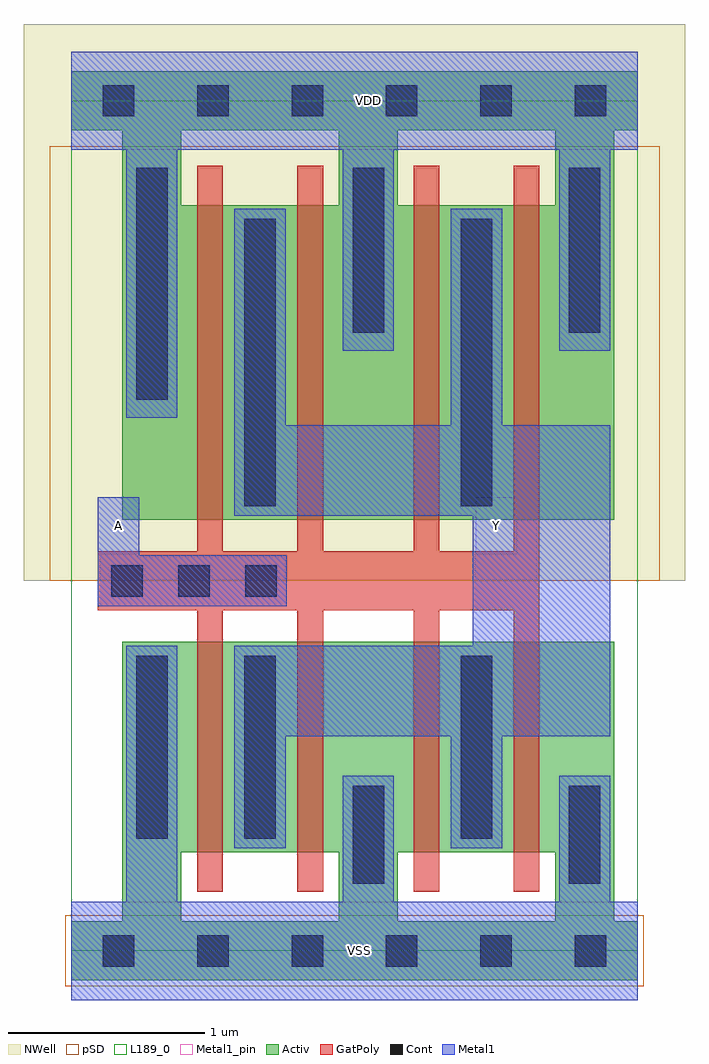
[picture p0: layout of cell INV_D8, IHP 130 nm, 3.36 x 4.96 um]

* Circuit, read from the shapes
.subckt INV_D8 A VDD VSS Y
XM1 Y A VSS VSS sg13_lv_nmos w=1.07u l=0.13u m=4
XM2 Y A VDD VDD sg13_lv_pmos w=1.6u l=0.13u m=4
.ends

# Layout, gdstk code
import gdstk
lib = gdstk.Library(unit=1e-6, precision=1e-09)
def R(c, l, rs):  # rectangles x0, y0, x1, y1
    for r in rs: c.add(gdstk.rectangle(r[:2], r[2:], *l))
def A(c, l, x, y, w, h, nx, ny, dx, dy):  # array of equal rectangles
    R(c, l, [(x+i*dx, y+j*dy, x+i*dx+w, y+j*dy+h) for i in range(nx) for j in range(ny)])
def P(c, l, *ps):  # polygons
    for p in ps: c.add(gdstk.Polygon(p, *l))
Activ = (1, 0)
GatPoly = (5, 0)
Cont = (6, 0)
Metal1 = (8, 0)
Metal1_pin = (8, 2)
pSD = (14, 0)
NWell = (31, 0)
L189_0 = (189, 0)

inv_d8 = lib.new_cell('INV_D8')
P(inv_d8, Activ, [(0,4.17),(1.36,4.17),(1.36,3.79),(1.66,3.79),(1.66,4.17),(2.46,4.17),(2.46,3.79),(1.66,3.79),(1.36,3.79),(0.56,3.79),(0.56,4.17),(0.26,4.17),(0.26,2.19),(2.76,2.19),(2.76,4.17),(2.88,4.17),(2.88,4.47),(0,4.47)],
  [(2.76,1.57),(0.26,1.57),(0.26,0.15),(0.56,0.15),(0.56,0.5),(1.36,0.5),(1.36,0.15),(1.66,0.15),(1.66,0.5),(2.46,0.5),(2.46,0.15),(1.66,0.15),(1.36,0.15),(0.56,0.15),(0.26,0.15),(0,0.15),(0,-0.15),(2.88,-0.15),(2.88,0.15),(2.76,0.15)])
P(inv_d8, GatPoly, [(1.15,0.3),(1.28,0.3),(1.28,1.73),(1.74,1.73),(1.74,0.3),(1.87,0.3),(1.87,1.73),(2.25,1.73),(2.25,0.3),(2.38,0.3),(2.38,3.99),(2.25,3.99),(2.25,2.03),(1.87,2.03),(1.87,3.99),(1.74,3.99),(1.74,2.03),(1.28,2.03),(1.28,3.99),(1.15,3.99),(1.15,2.03),(0.77,2.03),(0.77,3.99),(0.64,3.99),(0.64,2.03),(0.135,2.03),(0.135,1.73),(0.64,1.73),(0.64,0.3),(0.77,0.3),(0.77,1.73),(1.15,1.73)])
A(inv_d8, Cont, 0.16, -0.08, 0.16, 0.16, 6, 2, 0.48, 4.32)
A(inv_d8, Cont, 0.205, 1.8, 0.16, 0.16, 3, 1, 0.34, 0)
R(inv_d8, Cont, [(1.43,0.34,1.59,0.84), (2.53,0.34,2.69,0.84), (0.33,0.57,0.49,1.5), (0.88,0.57,1.04,1.5), (1.98,0.57,2.14,1.5), (0.88,2.26,1.04,3.72), (1.98,2.26,2.14,3.72), (0.33,2.8,0.49,3.98), (1.43,3.14,1.59,3.98), (2.53,3.14,2.69,3.98)])
R(inv_d8, Metal1, [(0.28,2.71,0.54,4.07), (1.38,3.05,1.64,4.07)])
P(inv_d8, Metal1, [(2.74,3.05),(2.74,4.07),(2.88,4.07),(2.88,4.57),(0,4.57),(0,4.07),(2.48,4.07),(2.48,3.05)],
  [(1.93,1.09),(1.93,0.52),(2.19,0.52),(2.19,1.09),(2.74,1.09),(2.74,2.67),(2.19,2.67),(2.19,3.77),(1.93,3.77),(1.93,2.67),(1.09,2.67),(1.09,3.77),(0.83,3.77),(0.83,2.21),(2.04,2.21),(2.04,1.55),(0.83,1.55),(0.83,0.52),(1.09,0.52),(1.09,1.09)],
  [(1.095,1.75),(1.095,2.01),(0.345,2.01),(0.345,2.305),(0.135,2.305),(0.135,1.75)],
  [(0,-0.25),(2.88,-0.25),(2.88,0.25),(2.74,0.25),(2.74,0.89),(2.48,0.89),(2.48,0.25),(1.64,0.25),(1.64,0.89),(1.38,0.89),(1.38,0.25),(0.54,0.25),(0.54,1.55),(0.28,1.55),(0.28,0.25),(0,0.25)])
R(inv_d8, Metal1_pin, [(0,-0.25,2.88,0.25), (0.135,2.015,0.345,2.305), (2.055,2.015,2.265,2.305), (0,4.07,2.88,4.57)])
R(inv_d8, pSD, [(-0.03,-0.18,2.91,0.18), (-0.11,1.88,2.99,4.09)])
R(inv_d8, NWell, [(-0.24,1.88,3.12,4.71)])
R(inv_d8, L189_0, [(0,0,2.88,4.32)])
inv_d8.add(gdstk.Label('VDD', (1.51,4.32), layer=8, texttype=25))
inv_d8.add(gdstk.Label('VSS', (1.465,0), layer=8, texttype=25))
inv_d8.add(gdstk.Label('Y', (2.16,2.16), layer=8, texttype=25))
inv_d8.add(gdstk.Label('A', (0.24,2.16), layer=8, texttype=25))

lib.write_gds('INV_D8.gds')
